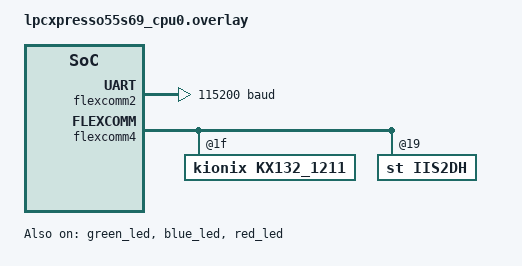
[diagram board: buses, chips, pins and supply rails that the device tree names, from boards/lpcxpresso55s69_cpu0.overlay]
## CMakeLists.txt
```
# SPDX-License-Identifier: Apache-2.0

cmake_minimum_required(VERSION 3.20.0)
find_package(Zephyr REQUIRED HINTS $ENV{ZEPHYR_BASE})
project(blinky)

target_sources(app PRIVATE src/main.c)

# To include iis2dh.h:
zephyr_include_directories($ENV{ZEPHYR_BASE}/drivers/sensor/iis2dh)
```

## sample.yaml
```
sample:
  name: Blinky Sample
tests:
  sample.basic.blinky:
    tags: LED gpio
    filter: dt_enabled_alias_with_parent_compat("led0", "gpio-leds")
    depends_on: gpio
    harness: led
    integration_platforms:
      - frdm_k64f
# With possible modifications to LED aliases in board's device tree overlay:
      - lpcxpresso55s69
```

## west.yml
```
manifest:
  remotes:
    - name: zephyrproject-rtos
      url-base: https://github.com/zephyrproject-rtos

  projects:
    - name: zephyr
      repo-path: zephyr
      remote: zephyrproject-rtos
      revision: v3.2.0
      import: true

    # Kionix driver work repository, name of remote repository followed by name of local dir into which to clone:
    - name: zephyr-driver-work-v2
      path: kionix-drivers
      revision: main
      url: https://github.com/tedhavelka/zephyr-driver-work-v2

  self:
    # This repository should be cloned to 
    path: nexus-gateway-firmware
```

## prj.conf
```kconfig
# Project Kconfig for IIS2DH minimal driver test, looking at DT_ANY_INST_ON_BUS_STATUS_OKAY(i2c).



# Logging
CONFIG_LOG=y
CONFIG_LOG_MODE_IMMEDIATE=y
CONFIG_SERIAL=y
CONFIG_CONSOLE=y
CONFIG_UART_CONSOLE=y
CONFIG_LOG_BACKEND_UART=y


# Serial interfaces on chip
CONFIG_I2C=y
CONFIG_GPIO=y


# Sensors
CONFIG_SENSOR=y

CONFIG_IIS2DH=y
CONFIG_IIS2DH_RANGE=0
CONFIG_IIS2DH_ODR=0
```

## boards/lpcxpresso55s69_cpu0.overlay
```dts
/*
# Project "iis2dh-minimal", small Zephyr based app to debug iis2dh driver API use.
*/

/*
# lpc55x69 dev kit dts file of interest is zephyr/boards/arm/lpcxpresso55s69/lpcxpresso55s69.dtsi
#
# Note:  the second alias should not be needed, but was placed here in
#  efforts to debug iis2dh.h conditional compilation of parts of
#  ``struct iis2dh_device_config``.
*/

/ {
    aliases {
        uart2 = &flexcomm2;
        i2c0 = &flexcomm4;
    };
};



/*
# ----------------------------------------------------------------------
# Reference - file where flexcomm nodes enabled for lpc55s69 MCU:
# zephyr/boards/arm/lpcxpresso55s69/lpcxpresso55s69_cpu0.dts
#
# Note:  retain the following node overlay for flexcomm2, in cases where
#  a second UART beyond Zephyr's chosen console UART is desired.
# ----------------------------------------------------------------------
*/

&flexcomm2 {
    compatible = "nxp,lpc-usart";
    current-speed = <115200>;
    status = "okay";
};



/*
# ----------------------------------------------------------------------
# On board lpcxpresse55s69, peripheral flexcomm4 is wired to the I2C
# lines of this board's Arduino headers.  Therefore for this board
# connect I2C based sensors and peripherals here in DTS:
# ----------------------------------------------------------------------
*/

&flexcomm4 {

/* See TN027-Power-On-Procedure.pdf for purpose of 0x1F and 0x1D
   Kionix sensor addresses here:   */  

        kionix_sensor: kx132_1211@1f {
                compatible = "kionix,kx132_1211";
                reg = <0x1F>;
                label = "KX132_1211";
        };

        stmicro_sensor: iis2dh@19 {
                compatible = "st,iis2dh";
                reg = <0x19>;
                label = "IIS2DH";
        };
};



&green_led {
    status = "okay";
};

&blue_led {
    status = "okay";
};

&red_led {
    status = "okay";
};
```

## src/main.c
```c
/*
 * Copyright (c) 2016 Intel Corporation
 *
 * SPDX-License-Identifier: Apache-2.0
 */




#define DT_DRV_COMPAT st_iis2dh


// - SECTION - includes

#include <zephyr/kernel.h>
#include <zephyr/drivers/gpio.h>
#include <zephyr/drivers/sensor.h>

// - DEV 1028 - studying and debugging Zephyr device tree macro:
#if DT_ANY_INST_ON_BUS_STATUS_OKAY(i2c)
#warning "- DEV 1028 - app side macro test for I2C device instances returns 1, \"one or more found\""
#else
#warning "- DEV 1028 - app side macro test for I2C device instances returns 0, \"none found\""
#endif

#include <iis2dh.h>



// - SECTION - defines

/* 1000 msec = 1 sec */
#define SLEEP_TIME_MS   1000

/* The devicetree node identifier for the "led0" alias. */
#define LED0_NODE DT_ALIAS(led0)

#define THREAD_ID__THREAD_MAIN "main"



// - SECTION - file scoped

/*
 * A build error on this line means your board is unsupported.
 * See the sample documentation for information on how to fix this.
 */
static const struct gpio_dt_spec led = GPIO_DT_SPEC_GET(LED0_NODE, gpios);



#define ROUTINE_OK 0

#define DT_DRV_COMPAT st_iis2dh

const struct device *sensor = DEVICE_DT_GET_ANY(st_iis2dh);



//----------------------------------------------------------------------
// Note, following two code snippets show driver change from Zephyr
//   release 3.1.0 to Zephyr 3.2.0:
//
//    struct iis2dh_data *data_struc_ptr = (struct iis2dh_data *)dev->data;
//        data_struc_ptr->bus,   // data_struc_ptr->i2c_dev,  . . . suits Zephyr 3.1.0 STMicro driver API
//
//    struct iis2dh_device_config *config_struct_ptr = (struct iis2dh_device_config *)dev->config;
//        config_struct_ptr->i2c.bus,                         . . . suits Zephyr 3.2.0 STMicro driver API
//----------------------------------------------------------------------



#if 1
static uint32_t read_iis2dh_whoami_register(const struct device *dev, struct sensor_value value)
{
#define RNAME_WHOAMI_QUERY "read_whoami"

    int rstatus = ROUTINE_OK;
    uint8_t cmd[] = { 0x0F };
//    struct iis2dh_data *data_struc_ptr = (struct iis2dh_data *)dev->data;
    struct iis2dh_device_config *config_struct_ptr = (struct iis2dh_device_config *)dev->config;
    uint8_t scratch_pad_byte = 0;

#if 1
#if DT_ANY_INST_ON_BUS_STATUS_OKAY(i2c)
#warning "- DEV 1027 - DT_ANY_INST_ON_BUS_STATUS_OKAY(i2c) returns 'true', one or more devices found 'okay' on I2C bus"
    rstatus = i2c_write_read(
#if 0
                             config_struct_ptr->i2c.bus,
                             DT_INST_REG_ADDR(0),
                             cmd, sizeof(cmd),
                             &scratch_pad_byte, sizeof(scratch_pad_byte));
#else
                             config_struct_ptr->i2c.bus,
                             0x18,
                             cmd,
                             1,
                             &scratch_pad_byte,
                             1
#endif
                            );
    value.val1 = scratch_pad_byte;

    printk("- %s - Zephyr I2C API write_read routine returns %d,\n",
      "whoami_query_routine", rstatus);
    printk("- %s - read back 'whoami' value of 0x%02x from iis2dh sensor,\n\n",
      "whoami_query_routine", value.val1);



#else
    printk("- %s - WARNING:  iis2dh driver did not compile with I2C bus awareness!\n",
      "whoami_query_routine");

#endif // check for I2C device instance on bus
#endif // 0, or 1

//    printk("- %s - DEV 1027 - at compile time DT_ANY_INST_ON_BUS_STATUS_OKAY(i2c) returns '%u'\n",
//      RNAME_WHOAMI_QUERY, DT_ANY_INST_ON_BUS_STATUS_OKAY(i2c));
//    printk("- %s - DEV 1027 - during build of sample app sources.\n", RNAME_WHOAMI_QUERY);

    return rstatus;
}
#endif



void main(void)
{
    int ret;
    struct sensor_value value;
    uint32_t rstatus = 0;


// --- BLOCK IIS2DH DRIVER API TEST BEGIN ---

    if ( sensor == NULL )
        { printk("- %s - No iis2dh device found!\n", THREAD_ID__THREAD_MAIN); }
    else
        { printk("- %s - Success finding iis2dh device,\n", THREAD_ID__THREAD_MAIN); }

    if (!device_is_ready(sensor)) {
        printk("- %s - NOTICE!  Device %s is not ready\n", THREAD_ID__THREAD_MAIN, sensor->name);
#if 0
        printk("- %s - Returning from this thread's entry point . . .\n\n\n", THREAD_ID__THREAD_MAIN);
        return;
#else
        printk("- %s - continuing on to blinky sample app code: . . .\n", THREAD_ID__THREAD_MAIN);
#endif
    }
    else
    {
        printk("- %s - Call to device_is_ready() says %s sensor is ready,\n",
          THREAD_ID__THREAD_MAIN, sensor->name);
    }

// --- BLOCK IIS2DH DRIVER API TEST END ---




    if (!device_is_ready(led.port)) {
        printk("- %s - LED device reported not ready, returning early!\n",
          THREAD_ID__THREAD_MAIN);
        return;
    }

    ret = gpio_pin_configure_dt(&led, GPIO_OUTPUT_ACTIVE);
    if (ret < 0) {
        printk("- %s - GPIO pin configuration failed, returning early!\n",
          THREAD_ID__THREAD_MAIN);
        return;
    }

    while (1) {
        ret = gpio_pin_toggle_dt(&led);
        if (ret < 0) {
            printk("- %s - call to toggle GPIO pin failed, leaving main loop and returning!\n",
              THREAD_ID__THREAD_MAIN);
            return;
        }
        k_msleep(SLEEP_TIME_MS);

        printk("- %s - calling routine to query IIS2DH sensor for 'whoami' value . . .\n",
          THREAD_ID__THREAD_MAIN);
        rstatus = read_iis2dh_whoami_register(sensor, value);
    }

}
```
